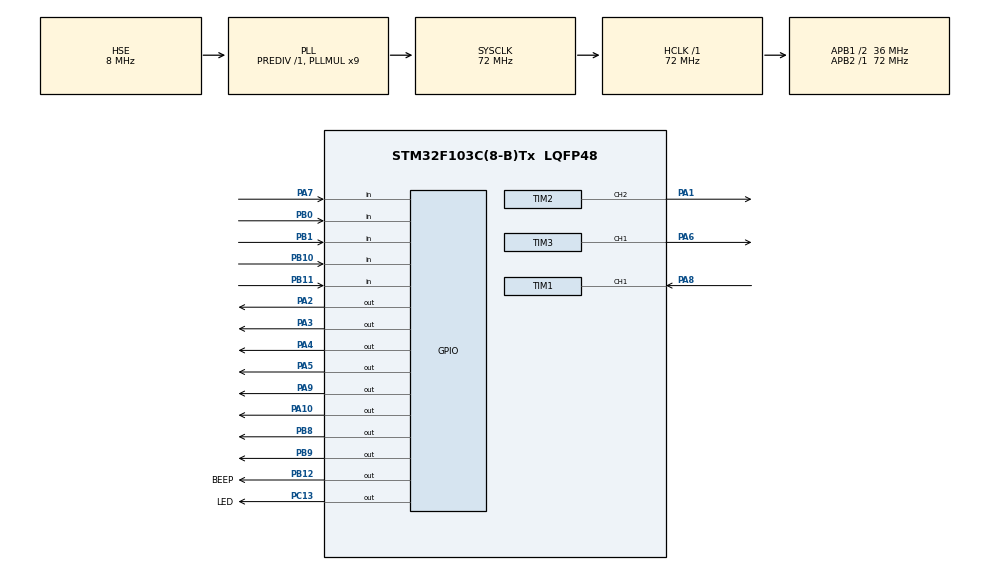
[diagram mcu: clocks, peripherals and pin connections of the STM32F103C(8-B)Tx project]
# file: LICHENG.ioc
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Mcu.Family=STM32F1
Mcu.Name=STM32F103C(8-B)Tx
Mcu.Package=LQFP48
NVIC.PriorityGroup=NVIC_PRIORITYGROUP_4
NVIC.TIM1_BRK_IRQn=true\:0\:0\:false\:false\:true\:true\:true\:true
NVIC.TIM1_CC_IRQn=true\:0\:0\:false\:false\:true\:true\:true\:true
NVIC.TIM1_TRG_COM_IRQn=true\:0\:0\:false\:false\:true\:true\:true\:true
NVIC.TIM1_UP_IRQn=true\:0\:0\:false\:false\:true\:true\:true\:true
PA1.Signal=S_TIM2_CH2
PA10.GPIO_ModeDefaultOutputPP=GPIO_MODE_OUTPUT_OD
PA10.GPIO_PuPd=GPIO_NOPULL
PA10.Signal=GPIO_Output
PA13.Mode=Serial_Wire
PA13.Signal=SYS_JTMS-SWDIO
PA14.Mode=Serial_Wire
PA14.Signal=SYS_JTCK-SWCLK
PA2.Signal=GPIO_Output
PA3.Signal=GPIO_Output
PA4.Signal=GPIO_Output
PA5.Signal=GPIO_Output
PA6.Signal=S_TIM3_CH1
PA7.Signal=GPIO_Input
PA8.Signal=S_TIM1_CH1
PA9.GPIO_ModeDefaultOutputPP=GPIO_MODE_OUTPUT_OD
PA9.GPIO_PuPd=GPIO_NOPULL
PA9.Signal=GPIO_Output
PB0.Signal=GPIO_Input
PB1.Signal=GPIO_Input
PB10.Signal=GPIO_Input
PB11.Signal=GPIO_Input
PB12.GPIO_Label=BEEP
PB12.GPIO_PuPd=GPIO_PULLUP
PB12.GPIO_Speed=GPIO_SPEED_FREQ_MEDIUM
PB12.PinState=GPIO_PIN_SET
PB12.Signal=GPIO_Output
PB8.GPIO_ModeDefaultOutputPP=GPIO_MODE_OUTPUT_OD
PB8.GPIO_PuPd=GPIO_NOPULL
PB8.Signal=GPIO_Output
PB9.GPIO_ModeDefaultOutputPP=GPIO_MODE_OUTPUT_OD
PB9.GPIO_PuPd=GPIO_NOPULL
PB9.Signal=GPIO_Output
PC13-TAMPER-RTC.GPIO_Label=LED
PC13-TAMPER-RTC.GPIO_ModeDefaultOutputPP=GPIO_MODE_OUTPUT_OD
PC13-TAMPER-RTC.GPIO_PuPd=GPIO_PULLUP
PC13-TAMPER-RTC.GPIO_Speed=GPIO_SPEED_FREQ_MEDIUM
PC13-TAMPER-RTC.PinState=GPIO_PIN_RESET
PC13-TAMPER-RTC.Signal=GPIO_Output
PD0-OSC_IN.Mode=HSE-External-Oscillator
PD0-OSC_IN.Signal=RCC_OSC_IN
PD1-OSC_OUT.Mode=HSE-External-Oscillator
PD1-OSC_OUT.Signal=RCC_OSC_OUT
ProjectManager.HeapSize=0x200
ProjectManager.StackSize=0x400
ProjectManager.TargetToolchain=MDK-ARM V5
RCC.AHBFreq_Value=72000000
RCC.APB1CLKDivider=RCC_HCLK_DIV2
RCC.APB1Freq_Value=36000000
RCC.APB1TimFreq_Value=72000000
RCC.APB2Freq_Value=72000000
RCC.APB2TimFreq_Value=72000000
RCC.HCLKFreq_Value=72000000
RCC.PLLMUL=RCC_PLL_MUL9
RCC.PLLSourceVirtual=RCC_PLLSOURCE_HSE
RCC.SYSCLKFreq_VALUE=72000000
RCC.SYSCLKSource=RCC_SYSCLKSOURCE_PLLCLK
RCC.USBFreq_Value=72000000
SH.S_TIM1_CH1.0=TIM1_CH1,Input_Capture1_from_TI1
SH.S_TIM2_CH2.0=TIM2_CH2,PWM Generation2 CH2
SH.S_TIM3_CH1.0=TIM3_CH1,PWM Generation1 CH1
TIM1.Channel-Input_Capture1_from_TI1=TIM_CHANNEL_1
TIM1.Period=999
TIM1.Prescaler=719
TIM2.Channel-PWM\ Generation2\ CH2=TIM_CHANNEL_2
TIM2.Period=999
TIM2.Prescaler=71
TIM2.Pulse-PWM\ Generation2\ CH2=600
TIM3.Channel-PWM\ Generation1\ CH1=TIM_CHANNEL_1
TIM3.Period=999
TIM3.Prescaler=71
VP_TIM1_VS_ClockSourceINT.Mode=Internal
VP_TIM2_VS_ClockSourceINT.Mode=Internal
VP_TIM3_VS_ClockSourceINT.Mode=Internal
board=custom

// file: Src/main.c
/* USER CODE BEGIN Header */
/**
 ******************************************************************************
 * @file           : main.c
 * @brief          : Main program body
 ******************************************************************************
 * @attention
 *
 * Copyright (c) 2024 STMicroelectronics.
 * All rights reserved.
 *
 * This software is licensed under terms that can be found in the LICENSE file
 * in the root directory of this software component.
 * If no LICENSE file comes with this software, it is provided AS-IS.
 *
 ******************************************************************************
 */
/* USER CODE END Header */
#include "main.h"
#include "tim.h"
#include "gpio.h"

/* USER CODE BEGIN Includes */
#include "oled.h"
#include "MPU6050.h"
#include "l298n.h"
#include "interrupt.h"
#include "end.h"
#define SPEED 380
#define chasu 170
/* USER CODE END Includes */

/* USER CODE BEGIN PTD */

// 180   273983
// 360   544518
uint8_t ID;
int16_t AX, AY, AZ, GX, GY, GZ;
int gd1, gd2, gd3, gd4, gd5; // 5-1:左到右
int speed_l, speed_r;
int GZ_JZ; // 去零飘后的陀螺仪角速度
extern int count;
extern int angle; // 陀螺仪积分角度
int target_angle; // 陀螺仪目标角度
float angle_kp;
float angle_kd;
float angle_ki;
int angle_error;
int angle_error_last;
int angle_inte;
int angle_maxinte = 20000;
int pricepwm;
int toggle_flag;
int toggle_time;
int goway;	 // 1为陀螺仪循迹,2为红外循迹
int key = 4; // 改赛题
int startflag;
int turnway; // 转弯方向
int stopflag;
int qes_num;
int lost_flag;		   // 丢线标志位
extern int lost_count; // 丢线时间
int loop_count = 4;	   // 小车循环数量
/* USER CODE END PTD */

void SystemClock_Config(void);

/* USER CODE BEGIN 0 */
void speed_control()
{
	if (speed_l > 900)
		speed_l = 900;
	if (speed_l < -900)
		speed_l = -900;
	if (speed_r > 900)
		speed_r = 900;
	if (speed_r < -900)
		speed_r = -900;

	if (speed_r > 0)
		A0_Control(1, speed_r);
	else
		A0_Control(0, -speed_r);

	if (speed_l > 0)
		A1_Control(1, speed_l);
	else
		A1_Control(0, -speed_l);
}
void gd_read() // 光电读取
{
	gd1 = HAL_GPIO_ReadPin(GPIOB, GPIO_PIN_11);
	gd2 = HAL_GPIO_ReadPin(GPIOB, GPIO_PIN_10);
	gd3 = HAL_GPIO_ReadPin(GPIOB, GPIO_PIN_1);
	gd4 = HAL_GPIO_ReadPin(GPIOB, GPIO_PIN_0);
	gd5 = HAL_GPIO_ReadPin(GPIOA, GPIO_PIN_7);
}
/* USER CODE END 0 */

int main(void)
{

	/* USER CODE BEGIN 1 */
	angle_kp = 0.01;
	angle_kd = 0.08;
	angle_ki = 0.002;
	/* USER CODE END 1 */

	/* MCU Configuration--------------------------------------------------------*/

	/* Reset of all peripherals, Initializes the Flash interface and the Systick. */
	HAL_Init();

	/* Configure the system clock */
	SystemClock_Config();

	/* Initialize all configured peripherals */
	MX_GPIO_Init();
	MX_TIM2_Init();
	MX_TIM1_Init();
	MX_TIM3_Init();
	/* USER CODE BEGIN 2 */
	OLED_Init(); // 屏幕初始化
	/* USER CODE END 2 */

	/* Infinite loop */
	/* USER CODE BEGIN WHILE */
	HAL_TIM_PWM_Start(&htim2, TIM_CHANNEL_2); // 开启定时器2通道2的PWM模式
	HAL_TIM_PWM_Start(&htim3, TIM_CHANNEL_1); // 开启定时器2通道3的PWM模式
	MPU6050_Init();							  // 陀螺仪初始化
	HAL_TIM_Base_Start_IT(&htim1);			  // 开启定时器中断
	//	OLED_ShowString(1, 1, "ID:");
	//	ID = MPU6050_GetID();
	//	OLED_ShowHexNum(1, 4, ID, 2);
	while (1)
	{
		/* USER CODE END WHILE */

		/* USER CODE BEGIN 3 */
		if (goway == 1) // 角度循迹模式
		{
			angle_error_last = angle_error;
			angle_error = target_angle - angle;
			//		if(angle_error<5000&&angle_error>-5000)
			angle_inte += angle_error;
			if (angle_inte > angle_maxinte)
				angle_inte = angle_maxinte;
			if (angle_inte < -angle_maxinte)
				angle_inte = -angle_maxinte;
			pricepwm = angle_error * angle_kp + (angle_error - angle_error_last) * angle_kd + angle_inte * angle_ki;
			speed_l = SPEED + pricepwm;
			speed_r = SPEED - pricepwm;
		}
		if (goway == 2) // 红外循迹模式
		{
			if (gd5 == 1 || gd1 == 1)
			{
				if (gd5 == 1)
				{
					turnway = 1;
				}
				if (gd1 == 1)
					turnway = 2;
			}
			if (turnway > 0)
			{
				if (turnway == 1)
				{
					speed_l = SPEED + 00;
					speed_r = SPEED - chasu;
				}
				else
				{
					speed_r = SPEED + 00;
					speed_l = SPEED - chasu;
				}
			}
			if (gd4 == 0 && gd2 == 0)
			{
				if (turnway == 0)
				{
					speed_l = SPEED;
					speed_r = SPEED;
				}
			}
			else
			{
				turnway = 0;
				if (gd4 == 0 && gd2 == 1)
				{
					speed_l = SPEED - chasu;
					speed_r = SPEED + 00;
				}
				else if (gd4 == 1 && gd2 == 0)
				{
					speed_l = SPEED + 00;
					speed_r = SPEED - chasu;
				}
				else
				{
					speed_l = SPEED;
					speed_r = SPEED;
				}
			}
		}
		if (stopflag == 1)
		{
			speed_l = 0;
			speed_r = 0;
		}
		////////////////////////////////////////////
		//////////////第一题////////////////////////
		////////////////////////////////////////////
		if (key == 1)
		{
			startflag = 1; // 第一题
			goway = 1;	   // 角度循迹
			key = 0;
		}
		if (startflag == 1)
		{
			if (gd1 == 1 || gd2 == 1 || gd4 == 1 || gd5 == 1)
			{
				stopflag = 1; // 停车
			}
		}
		/////////////////////////////////////////
		//////////////////第二题/////////////////
		/////////////////////////////////////////
		if (key == 2)
		{
			startflag = 2; // 第二题
			goway = 1;	   // 角度循迹
			key = 0;
			qes_num = 1; // 进入第一阶段
		}
		if (startflag == 2)
		{
			if (qes_num == 1)
			{
				if (gd1 == 1 || gd2 == 1 || gd4 == 1 || gd5 == 1)
				{
					goway = 2;	 // 红外循迹
					qes_num = 2; // 进入第二阶段
								 ////						stopflag=1;
				}
			}
			if (qes_num == 2)
			{
				if (gd1 == 0 && gd2 == 0 && gd4 == 0 && gd5 == 0 && angle < -250000)
				{
					lost_flag = 1;
					if (lost_count > 10)
					{
						goway = 1;	 // 角度循迹
						qes_num = 3; // 进入第三阶段
						//								stopflag=1;
						lost_flag = 0;
						lost_count = 0;
					}
				}
			}
			if (qes_num == 3)
			{
				target_angle = -280000; // 改变目标角度
				goway = 1;				// 角度循迹
				qes_num = 4;			// 进入第四阶段
			}
			if (qes_num == 4)
			{
				if (gd1 == 1 || gd2 == 1 || gd4 == 1 || gd5 == 1)
				{
					goway = 2;	 // 红外循迹
					qes_num = 5; // 进入第五阶段??
								 //  						stopflag=1;
				}
			}
			if (qes_num == 5)
			{
				if (gd1 == 0 && gd2 == 0 && gd4 == 0 && gd5 == 0 && angle < -500000)
				{
					lost_flag = 1;
					if (lost_count > 10)
					{
						stopflag = 1; // 停车
						lost_flag = 0;
						lost_count = 0;
					}
				}
			}
		}

		/////////////////////////////////////////////////
		//////////////////第三题/////////////////////////
		/////////////////////////////////////////////////
		if (key == 3)
		{
			startflag = 3;		   // 第三题
			target_angle = -60000; // 改变目标角度
			goway = 1;			   // 角度循迹
			key = 0;
			qes_num = 1; // 进入第一阶段??
		}
		if (startflag == 3)
		{
			if (qes_num == 1)
			{
				if (gd1 == 1 || gd2 == 1 || gd4 == 1 || gd5 == 1)
				{
					goway = 2;	 // 红外循迹
					qes_num = 2; // 进入第二阶段??
								 //  						stopflag=1;
				}
			}
			if (qes_num == 2)
			{
				if (gd1 == 0 && gd2 == 0 && gd4 == 0 && gd5 == 0 && angle > 280000)
				{
					lost_flag = 1;
					if (lost_count > 0)
					{
						qes_num = 3; // 进入第三阶段
						//								stopflag=1;
						lost_flag = 0;
						lost_count = 0;
					}
				}
			}
			if (qes_num == 3)
			{
				target_angle = 360000; // 改变目标角度
				goway = 1;			   // 角度循迹
				qes_num = 4;		   // 进入第四阶段??
			}
			if (qes_num == 4)
			{
				if (gd1 == 1 || gd2 == 1 || gd4 == 1 || gd5 == 1)
				{
					goway = 2;	 // 红外循迹
					qes_num = 5; // 进入第五阶段??
								 //  						stopflag=1;
				}
			}
			if (qes_num == 5)
			{
				if (gd1 == 0 && gd2 == 0 && gd4 == 0 && gd5 == 0 && angle < 55000)
				{
					lost_flag = 1;
					if (lost_count > 20)
					{
						stopflag = 1; // 停车
						lost_flag = 0;
						lost_count = 0;
					}
				}
			}
		}
		////////////////////////////////////////////////////
		//////////////////////第四题////////////////////////
		////////////////////////////////////////////////////
		if (key == 4 && loop_count != 0)
		{
			startflag = 4;		   // 第四题
			target_angle = -60000; // 改变目标角度
			goway = 1;			   // 角度循迹
			qes_num = 1;		   // 进入第一阶段??
			loop_count = loop_count - 1;
		}
		if (startflag == 4)
		{
			if (qes_num == 1)
			{
				if (gd1 == 1 || gd2 == 1 || gd4 == 1 || gd5 == 1)
				{
					goway = 2;	 // 红外循迹
					qes_num = 2; // 进入第二阶段??
								 //  						stopflag=1;
				}
			}
			if (qes_num == 2)
			{
				if (gd1 == 0 && gd2 == 0 && gd4 == 0 && gd5 == 0 && angle > 270000)
				{
					lost_flag = 1;
					if (lost_count > 0)
					{
						qes_num = 3; // 进入第三阶段
						//								stopflag=1;
						lost_flag = 0;
						lost_count = 0;
					}
				}
			}
			if (qes_num == 3)
			{
				target_angle = 350000; // 改变目标角度
				goway = 1;			   // 角度循迹
				qes_num = 4;		   // 进入第四阶段??
			}
			if (qes_num == 4)
			{
				if (gd1 == 1 || gd2 == 1 || gd4 == 1 || gd5 == 1)
				{
					goway = 2;	 // 红外循迹
					qes_num = 5; // 进入第五阶段??
								 //  						stopflag=1;
				}
			}
			if (qes_num == 5)
			{
				if (gd1 == 0 && gd2 == 0 && gd4 == 0 && gd5 == 0 && angle < 40000)
				{
					lost_flag = 1;
					qes_num = 1;
					target_angle = -55000;
					angle -= 25000;
					goway = 1;
					// angle+=2000;
					// stopflag=1;//停车
					lost_flag = 0;
					lost_count = 0;
					startflag = 4;
					angle_inte=0;
					OLED_ShowString(2, 5, "enter five stages");
				}
			}
		}
		speed_control();
		gd_read();

		//		OLED_ShowNum(2, 1, gd1,1);
		//		OLED_ShowNum(2, 5, gd2,1);
		//		OLED_ShowNum(3, 1, gd3,1);
		//		OLED_ShowNum(3, 5, gd4,1);
		//		OLED_ShowNum(4, 1, gd5,1);

		MPU6050_GetData(&AX, &AY, &AZ, &GX, &GY, &GZ); // 陀螺仪读取数据
		// OLED_ShowSignedNum(2, 1, AX, 5);//屏幕显示数据
		//		OLED_ShowSignedNum(3, 1, AY, 5);
		// OLED_ShowSignedNum(4, 1, AZ, 5);
		//	OLED_ShowSignedNum(2, 8, GZ_JZ, 5);//
		OLED_ShowSignedNum(3, 5, angle, 9);
		OLED_ShowNum(1, 5, qes_num, 5);
		//	OLED_ShowNum(4, 8,count, 5);
	}
	/* USER CODE END 3 */
}

void SystemClock_Config(void)
{
	RCC_OscInitTypeDef RCC_OscInitStruct = {0};
	RCC_ClkInitTypeDef RCC_ClkInitStruct = {0};

	/** Initializes the RCC Oscillators according to the specified parameters
	 * in the RCC_OscInitTypeDef structure.
	 */
	RCC_OscInitStruct.OscillatorType = RCC_OSCILLATORTYPE_HSE;
	RCC_OscInitStruct.HSEState = RCC_HSE_ON;
	RCC_OscInitStruct.HSEPredivValue = RCC_HSE_PREDIV_DIV1;
	RCC_OscInitStruct.HSIState = RCC_HSI_ON;
	RCC_OscInitStruct.PLL.PLLState = RCC_PLL_ON;
	RCC_OscInitStruct.PLL.PLLSource = RCC_PLLSOURCE_HSE;
	RCC_OscInitStruct.PLL.PLLMUL = RCC_PLL_MUL9;
	if (HAL_RCC_OscConfig(&RCC_OscInitStruct) != HAL_OK)
	{
		Error_Handler();
	}

	/** Initializes the CPU, AHB and APB buses clocks
	 */
	RCC_ClkInitStruct.ClockType = RCC_CLOCKTYPE_HCLK | RCC_CLOCKTYPE_SYSCLK | RCC_CLOCKTYPE_PCLK1 | RCC_CLOCKTYPE_PCLK2;
	RCC_ClkInitStruct.SYSCLKSource = RCC_SYSCLKSOURCE_PLLCLK;
	RCC_ClkInitStruct.AHBCLKDivider = RCC_SYSCLK_DIV1;
	RCC_ClkInitStruct.APB1CLKDivider = RCC_HCLK_DIV2;
	RCC_ClkInitStruct.APB2CLKDivider = RCC_HCLK_DIV1;

	if (HAL_RCC_ClockConfig(&RCC_ClkInitStruct, FLASH_LATENCY_2) != HAL_OK)
	{
		Error_Handler();
	}
}

void Error_Handler(void)
{
	__disable_irq();
	while (1)
	{
	}
}
